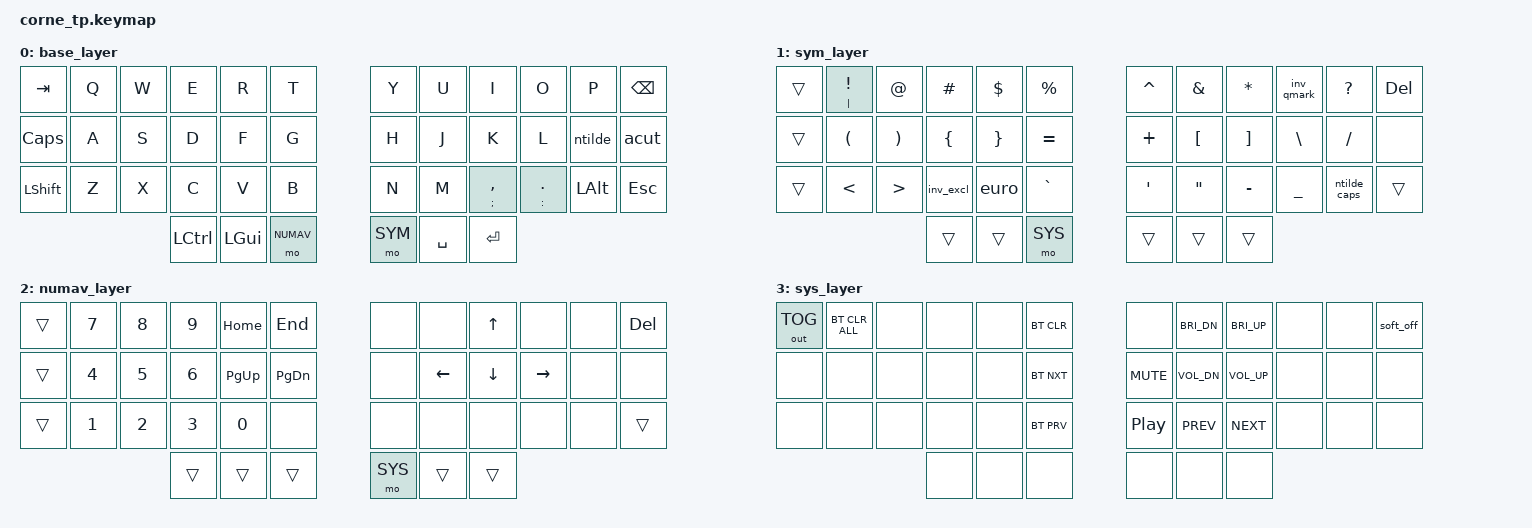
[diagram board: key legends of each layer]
/*
 * Copyright (c) 2023 The ZMK Contributors
 *
 * SPDX-License-Identifier: MIT
 */

#include <behaviors.dtsi>
#include <dt-bindings/zmk/keys.h>
#include <dt-bindings/zmk/bt.h>
#include <dt-bindings/zmk/outputs.h>

#define ZMK_POINTING_DEFAULT_SCRL_VAL 100
#include <dt-bindings/zmk/pointing.h>

#define BASE   0
#define SYM    1
#define NUMAV  2
#define SYS    3

/ {

    macros {
        inv_qmark: inv_qmark {
            compatible = "zmk,behavior-macro";
            #binding-cells = <0>;
            bindings
                = <&macro_press &kp LALT &kp LSHFT>
                , <&macro_tap &kp FSLH>
                , <&macro_release &kp LSHFT &kp LALT>
                ;
        };
        inv_excl: inv_excl {
            compatible = "zmk,behavior-macro";
            #binding-cells = <0>;
            bindings
                = <&macro_press &kp LALT>
                , <&macro_tap &kp N1>
                , <&macro_release &kp LALT>
                ;
        };
        ntilde: ntilde {
            compatible = "zmk,behavior-macro";
            #binding-cells = <0>;
            bindings
                = <&macro_press &kp LALT>
                , <&macro_tap &kp N>
                , <&macro_release &kp LALT>
                ;
        };
        ntilde_caps: ntilde_caps {
            compatible = "zmk,behavior-macro";
            #binding-cells = <0>;
            bindings
                = <&macro_press &kp LALT &kp LSHFT>
                , <&macro_tap &kp N>
                , <&macro_release &kp LSHFT &kp LALT>
                ;
        };
        euro: euro {
            compatible = "zmk,behavior-macro";
            #binding-cells = <0>;
            bindings
                = <&macro_press &kp LALT &kp LSHFT>
                , <&macro_tap &kp N2>
                , <&macro_release &kp LSHFT &kp LALT>
                ;
        };
        acut: acut {
            compatible = "zmk,behavior-macro";
            #binding-cells = <0>;
            bindings
                = <&macro_press &kp LALT>
                , <&macro_tap &kp E>
                , <&macro_release &kp LALT>
                ;
        };
    };

    behaviors {
        ht: hold_tap {
            compatible = "zmk,behavior-hold-tap";
            label = "HOLD_TAP";
            #binding-cells = <2>;
            tapping-term-ms = <200>;
            quick-tap-ms = <0>;
            flavor = "tap-preferred";
            bindings = <&kp>, <&kp>;
        };
    };

    keymap {
        compatible = "zmk,keymap";

        base_layer {
            bindings = <
// ╭───────────┬───────────┬───────────┬───────────┬───────────┬───────────╮   ╭───────────┬───────────┬───────────┬───────────┬───────────┬───────────╮
    &kp TAB    &kp Q       &kp W       &kp E       &kp R       &kp T          &kp Y       &kp U       &kp I       &kp O       &kp P       &kp BSPC
    &kp CAPS   &kp A       &kp S       &kp D       &kp F       &kp G          &kp H       &kp J       &kp K       &kp L       &ntilde     &acut
    &kp LSHFT  &kp Z       &kp X       &kp C       &kp V       &kp B          &kp N       &kp M       &ht SEMI COMMA &ht COLON DOT &kp LALT &kp ESC
//                                                                                                                                  ^^^^ Option en macOS
// ╰───────────┴───────────┴───────────┤                                                                           ├───────────┴───────────┴───────────╯
                                         &kp LCTRL &kp LGUI    &mo NUMAV       &mo SYM     &kp SPACE   &kp ENTER
//                                      ╰───────────┴───────────┴───────────╯   ╰───────────┴───────────┴───────────╯
            >;
        };

        sym_layer {
            bindings = <
// ╭───────────┬───────────┬───────────┬───────────┬───────────┬───────────╮   ╭───────────┬───────────┬───────────┬───────────┬───────────┬───────────╮
    &trans    &ht PIPE EXCL &kp AT    &kp HASH    &kp DLLR    &kp PRCNT       &kp CARET   &kp AMPS    &kp STAR    &inv_qmark  &kp QMARK    &kp DEL
    &trans     &kp LPAR    &kp RPAR    &kp LBRC    &kp RBRC    &kp EQUAL       &kp PLUS    &kp LBKT    &kp RBKT    &kp BSLH    &kp FSLH     &none
    &trans     &kp LT      &kp GT      &inv_excl   &euro       &kp GRAVE       &kp SQT     &kp DQT     &kp MINUS   &kp UNDER   &ntilde_caps &trans
// ╰───────────┴───────────┴───────────┤                                                                           ├───────────┴───────────┴───────────╯
                                         &trans     &trans      &mo SYS         &trans      &trans      &trans
//                                      ╰───────────┴───────────┴───────────╯   ╰───────────┴───────────┴───────────╯
            >;
        };

        numav_layer {
            bindings = <
// ╭───────────┬───────────┬───────────┬───────────┬───────────┬───────────╮   ╭───────────┬───────────┬───────────┬───────────┬───────────┬───────────╮
    &trans      &kp N7      &kp N8      &kp N9      &kp HOME    &kp END        &none       &none       &kp UP      &none       &none       &kp DEL
    &trans      &kp N4      &kp N5      &kp N6      &kp PG_UP   &kp PG_DN      &none       &kp LEFT    &kp DOWN    &kp RIGHT   &none       &none
    &trans      &kp N1      &kp N2      &kp N3      &kp N0      &none          &none       &none       &none       &none       &none       &trans
// ╰───────────┴───────────┴───────────┤                                                                           ├───────────┴───────────┴───────────╯
                                         &trans     &trans     &trans           &mo SYS     &trans      &trans
//                                      ╰───────────┴───────────┴───────────╯   ╰───────────┴───────────┴───────────╯
            >;
        };

        sys_layer {
            bindings = <
// ╭───────────┬───────────┬───────────┬───────────┬───────────┬───────────╮   ╭───────────┬───────────┬───────────┬───────────┬───────────┬───────────╮
    &out OUT_TOG &bt BT_CLR_ALL &none  &none       &none       &bt BT_CLR      &none       &kp C_BRI_DN &kp C_BRI_UP &none     &none       &soft_off
    &none       &none       &none      &none       &none       &bt BT_NXT      &kp C_MUTE  &kp C_VOL_DN &kp C_VOL_UP &none     &none       &none
    &none        &none      &none      &none       &none       &bt BT_PRV      &kp C_PP    &kp C_PREV   &kp C_NEXT  &none      &none       &none
// ╰───────────┴───────────┴───────────┤                                                                           ├───────────┴───────────┴───────────╯
                                         &none      &none       &none           &none      &none      &none
//                                      ╰───────────┴───────────┴───────────╯   ╰───────────┴───────────┴───────────╯
            >;
        };

    };

};
